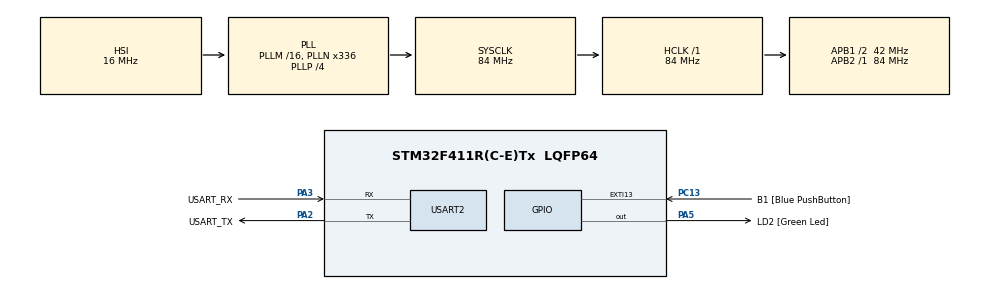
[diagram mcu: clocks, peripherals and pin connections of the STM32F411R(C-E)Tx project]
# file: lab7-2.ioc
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Dma.Request0=USART2_RX
Dma.Request1=USART2_TX
Dma.USART2_RX.0.Direction=DMA_PERIPH_TO_MEMORY
Dma.USART2_RX.0.FIFOMode=DMA_FIFOMODE_DISABLE
Dma.USART2_RX.0.Instance=DMA1_Stream5
Dma.USART2_RX.0.MemDataAlignment=DMA_MDATAALIGN_BYTE
Dma.USART2_RX.0.MemInc=DMA_MINC_ENABLE
Dma.USART2_RX.0.Mode=DMA_NORMAL
Dma.USART2_RX.0.PeriphDataAlignment=DMA_PDATAALIGN_BYTE
Dma.USART2_RX.0.PeriphInc=DMA_PINC_DISABLE
Dma.USART2_RX.0.Priority=DMA_PRIORITY_LOW
Dma.USART2_TX.1.Direction=DMA_MEMORY_TO_PERIPH
Dma.USART2_TX.1.FIFOMode=DMA_FIFOMODE_DISABLE
Dma.USART2_TX.1.Instance=DMA1_Stream6
Dma.USART2_TX.1.MemDataAlignment=DMA_MDATAALIGN_BYTE
Dma.USART2_TX.1.MemInc=DMA_MINC_ENABLE
Dma.USART2_TX.1.Mode=DMA_NORMAL
Dma.USART2_TX.1.PeriphDataAlignment=DMA_PDATAALIGN_BYTE
Dma.USART2_TX.1.PeriphInc=DMA_PINC_DISABLE
Dma.USART2_TX.1.Priority=DMA_PRIORITY_LOW
Mcu.Family=STM32F4
Mcu.Name=STM32F411R(C-E)Tx
Mcu.Package=LQFP64
NVIC.DMA1_Stream5_IRQn=true\:0\:0\:false\:false\:true\:false\:true\:true
NVIC.DMA1_Stream6_IRQn=true\:0\:0\:false\:false\:true\:false\:true\:true
NVIC.PriorityGroup=NVIC_PRIORITYGROUP_0
NVIC.USART2_IRQn=true\:0\:0\:false\:false\:true\:true\:true\:true
PA13.GPIO_Label=TMS
PA13.Mode=Serial_Wire
PA13.Signal=SYS_JTMS-SWDIO
PA14.GPIO_Label=TCK
PA14.Mode=Serial_Wire
PA14.Signal=SYS_JTCK-SWCLK
PA2.GPIO_Label=USART_TX
PA2.Mode=Asynchronous
PA2.Signal=USART2_TX
PA3.GPIO_Label=USART_RX
PA3.Mode=Asynchronous
PA3.Signal=USART2_RX
PA5.GPIO_Label=LD2 [Green Led]
PA5.Signal=GPIO_Output
PB3.GPIO_Label=SWO
PB3.Signal=SYS_JTDO-SWO
PC13-ANTI_TAMP.GPIO_Label=B1 [Blue PushButton]
PC13-ANTI_TAMP.GPIO_ModeDefaultEXTI=GPIO_MODE_IT_FALLING
PC13-ANTI_TAMP.Signal=GPXTI13
PC14-OSC32_IN.Mode=LSE-External-Oscillator
PC14-OSC32_IN.Signal=RCC_OSC32_IN
PC15-OSC32_OUT.Mode=LSE-External-Oscillator
PC15-OSC32_OUT.Signal=RCC_OSC32_OUT
PH0\ -\ OSC_IN.Mode=HSE-External-Clock-Source
PH0\ -\ OSC_IN.Signal=RCC_OSC_IN
PH1\ -\ OSC_OUT.Mode=HSE-External-Clock-Source
PH1\ -\ OSC_OUT.Signal=RCC_OSC_OUT
ProjectManager.HeapSize=0x200
ProjectManager.StackSize=0x400
ProjectManager.TargetToolchain=STM32CubeIDE
RCC.48MHZClocksFreq_Value=84000000
RCC.AHBFreq_Value=84000000
RCC.APB1CLKDivider=RCC_HCLK_DIV2
RCC.APB1Freq_Value=42000000
RCC.APB1TimFreq_Value=84000000
RCC.APB2Freq_Value=84000000
RCC.APB2TimFreq_Value=84000000
RCC.CortexFreq_Value=84000000
RCC.FLatency-AdvancedSettings=FLASH_LATENCY_2
RCC.HCLKFreq_Value=84000000
RCC.HSE_VALUE=8000000
RCC.HSI_VALUE=16000000
RCC.PLLN=336
RCC.PLLP=RCC_PLLP_DIV4
RCC.SYSCLKFreq_VALUE=84000000
RCC.SYSCLKSource=RCC_SYSCLKSOURCE_PLLCLK
RCC.VCOOutputFreq_Value=336000000
USART2.VirtualMode=VM_ASYNC
board=NUCLEO-F411RE

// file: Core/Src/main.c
/* USER CODE BEGIN Header */
/**
  ******************************************************************************
  * @file           : main.c
  * @brief          : Main program body
  ******************************************************************************
  * @attention
  *
  * Copyright (c) 2026 STMicroelectronics.
  * All rights reserved.
  *
  * This software is licensed under terms that can be found in the LICENSE file
  * in the root directory of this software component.
  * If no LICENSE file comes with this software, it is provided AS-IS.
  *
  ******************************************************************************
  */
/* USER CODE END Header */
#include "main.h"

UART_HandleTypeDef huart2;
DMA_HandleTypeDef hdma_usart2_rx;
DMA_HandleTypeDef hdma_usart2_tx;

/* USER CODE BEGIN PV */
#define BLOCK_SIZE   256U
#define BUFFER_COUNT 4U

uint8_t buffer[BUFFER_COUNT][BLOCK_SIZE];

volatile uint8_t rx_index = 0;
volatile uint8_t tx_index = 0;
volatile uint8_t pending = 0;
volatile uint8_t tx_busy = 0;

volatile uint32_t rx_blocks = 0;
volatile uint32_t tx_blocks = 0;
volatile uint32_t uart_error = 0;

uint32_t led_tick = 0;
/* USER CODE END PV */

void SystemClock_Config(void);
static void MX_GPIO_Init(void);
static void MX_DMA_Init(void);
static void MX_USART2_UART_Init(void);

/* USER CODE BEGIN 0 */
static void StartNextTx(void)
{
    if ((tx_busy == 0U) && (pending > 0U))
    {
        tx_busy = 1U;

        if (HAL_UART_Transmit_DMA(&huart2,
                                  buffer[tx_index],
                                  BLOCK_SIZE) != HAL_OK)
        {
            uart_error = 1U;
            Error_Handler();
        }
    }
}
/* USER CODE END 0 */

int main(void)
{

  /* MCU Configuration--------------------------------------------------------*/

  /* Reset of all peripherals, Initializes the Flash interface and the Systick. */
  HAL_Init();

  /* Configure the system clock */
  SystemClock_Config();

  /* Initialize all configured peripherals */
  MX_GPIO_Init();
  MX_DMA_Init();
  MX_USART2_UART_Init();
  /* USER CODE BEGIN 2 */
  led_tick = HAL_GetTick();

  if (HAL_UART_Receive_DMA(&huart2,
                           buffer[rx_index],
                           BLOCK_SIZE) != HAL_OK)
  {
      Error_Handler();
  }
  /* USER CODE END 2 */

  /* Infinite loop */
  while (1)
  {

    /* USER CODE BEGIN 3 */
	  uint32_t now = HAL_GetTick();

	  if ((uint32_t)(now - led_tick) >= 100U)
	  {
	      led_tick = now;
	      HAL_GPIO_TogglePin(LD2_GPIO_Port, LD2_Pin);
	  }
  }
  /* USER CODE END 3 */
}

void SystemClock_Config(void)
{
  RCC_OscInitTypeDef RCC_OscInitStruct = {0};
  RCC_ClkInitTypeDef RCC_ClkInitStruct = {0};

  /** Configure the main internal regulator output voltage
  */
  __HAL_RCC_PWR_CLK_ENABLE();
  __HAL_PWR_VOLTAGESCALING_CONFIG(PWR_REGULATOR_VOLTAGE_SCALE1);

  /** Initializes the RCC Oscillators according to the specified parameters
  * in the RCC_OscInitTypeDef structure.
  */
  RCC_OscInitStruct.OscillatorType = RCC_OSCILLATORTYPE_HSI;
  RCC_OscInitStruct.HSIState = RCC_HSI_ON;
  RCC_OscInitStruct.HSICalibrationValue = RCC_HSICALIBRATION_DEFAULT;
  RCC_OscInitStruct.PLL.PLLState = RCC_PLL_ON;
  RCC_OscInitStruct.PLL.PLLSource = RCC_PLLSOURCE_HSI;
  RCC_OscInitStruct.PLL.PLLM = 16;
  RCC_OscInitStruct.PLL.PLLN = 336;
  RCC_OscInitStruct.PLL.PLLP = RCC_PLLP_DIV4;
  RCC_OscInitStruct.PLL.PLLQ = 4;
  if (HAL_RCC_OscConfig(&RCC_OscInitStruct) != HAL_OK)
  {
    Error_Handler();
  }

  /** Initializes the CPU, AHB and APB buses clocks
  */
  RCC_ClkInitStruct.ClockType = RCC_CLOCKTYPE_HCLK|RCC_CLOCKTYPE_SYSCLK
                              |RCC_CLOCKTYPE_PCLK1|RCC_CLOCKTYPE_PCLK2;
  RCC_ClkInitStruct.SYSCLKSource = RCC_SYSCLKSOURCE_PLLCLK;
  RCC_ClkInitStruct.AHBCLKDivider = RCC_SYSCLK_DIV1;
  RCC_ClkInitStruct.APB1CLKDivider = RCC_HCLK_DIV2;
  RCC_ClkInitStruct.APB2CLKDivider = RCC_HCLK_DIV1;

  if (HAL_RCC_ClockConfig(&RCC_ClkInitStruct, FLASH_LATENCY_2) != HAL_OK)
  {
    Error_Handler();
  }
}

static void MX_USART2_UART_Init(void)
{

  huart2.Instance = USART2;
  huart2.Init.BaudRate = 115200;
  huart2.Init.WordLength = UART_WORDLENGTH_8B;
  huart2.Init.StopBits = UART_STOPBITS_1;
  huart2.Init.Parity = UART_PARITY_NONE;
  huart2.Init.Mode = UART_MODE_TX_RX;
  huart2.Init.HwFlowCtl = UART_HWCONTROL_NONE;
  huart2.Init.OverSampling = UART_OVERSAMPLING_16;
  if (HAL_UART_Init(&huart2) != HAL_OK)
  {
    Error_Handler();
  }

}

static void MX_DMA_Init(void)
{

  /* DMA controller clock enable */
  __HAL_RCC_DMA1_CLK_ENABLE();

  /* DMA interrupt init */
  /* DMA1_Stream5_IRQn interrupt configuration */
  HAL_NVIC_SetPriority(DMA1_Stream5_IRQn, 0, 0);
  HAL_NVIC_EnableIRQ(DMA1_Stream5_IRQn);
  /* DMA1_Stream6_IRQn interrupt configuration */
  HAL_NVIC_SetPriority(DMA1_Stream6_IRQn, 0, 0);
  HAL_NVIC_EnableIRQ(DMA1_Stream6_IRQn);

}

static void MX_GPIO_Init(void)
{
  GPIO_InitTypeDef GPIO_InitStruct = {0};

  /* GPIO Ports Clock Enable */
  __HAL_RCC_GPIOC_CLK_ENABLE();
  __HAL_RCC_GPIOH_CLK_ENABLE();
  __HAL_RCC_GPIOA_CLK_ENABLE();
  __HAL_RCC_GPIOB_CLK_ENABLE();

  /*Configure GPIO pin Output Level */
  HAL_GPIO_WritePin(LD2_GPIO_Port, LD2_Pin, GPIO_PIN_RESET);

  /*Configure GPIO pin : B1_Pin */
  GPIO_InitStruct.Pin = B1_Pin;
  GPIO_InitStruct.Mode = GPIO_MODE_IT_FALLING;
  GPIO_InitStruct.Pull = GPIO_NOPULL;
  HAL_GPIO_Init(B1_GPIO_Port, &GPIO_InitStruct);

  /*Configure GPIO pin : LD2_Pin */
  GPIO_InitStruct.Pin = LD2_Pin;
  GPIO_InitStruct.Mode = GPIO_MODE_OUTPUT_PP;
  GPIO_InitStruct.Pull = GPIO_NOPULL;
  GPIO_InitStruct.Speed = GPIO_SPEED_FREQ_LOW;
  HAL_GPIO_Init(LD2_GPIO_Port, &GPIO_InitStruct);

}

/* USER CODE BEGIN 4 */
void HAL_UART_RxCpltCallback(UART_HandleTypeDef *huart)
{
    if (huart->Instance != USART2)
    {
        return;
    }

    rx_blocks++;
    pending++;

    /*
     * Keep one buffer available for the next receive.
     * Stop if all buffers are occupied.
     */
    if (pending >= BUFFER_COUNT)
    {
        uart_error = 2U;
        Error_Handler();
    }

    rx_index = (rx_index + 1U) % BUFFER_COUNT;

    /* Receive the next block before starting transmission. */
    if (HAL_UART_Receive_DMA(&huart2,
                             buffer[rx_index],
                             BLOCK_SIZE) != HAL_OK)
    {
        uart_error = 3U;
        Error_Handler();
    }

    StartNextTx();
}

void HAL_UART_TxCpltCallback(UART_HandleTypeDef *huart)
{
    if (huart->Instance != USART2)
    {
        return;
    }

    tx_blocks++;
    tx_index = (tx_index + 1U) % BUFFER_COUNT;
    pending--;
    tx_busy = 0U;

    StartNextTx();
}

void HAL_UART_ErrorCallback(UART_HandleTypeDef *huart)
{
    if (huart->Instance == USART2)
    {
        uart_error = 4U;
        Error_Handler();
    }
}
/* USER CODE END 4 */

void Error_Handler(void)
{
  __disable_irq();
  while (1)
  {
  }
}
